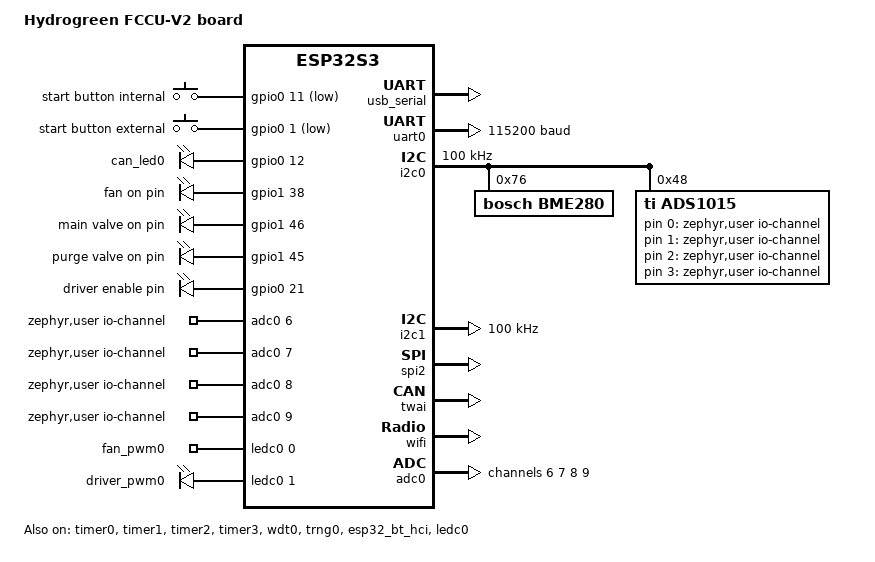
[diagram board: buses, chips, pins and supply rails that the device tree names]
/dts-v1/;

#include <espressif/esp32s3/esp32s3_wroom_n8.dtsi>
#include "fccu_v2-pinctrl.dtsi"
#include <zephyr/dt-bindings/input/input-event-codes.h>
#include <espressif/partitions_0x0_amp.dtsi>


/ {
	model = "Hydrogreen FCCU-V2 board";
	compatible = "hydrogreen,fccu_v2";

	aliases {
		i2c-0 = &i2c0;
		watchdog0 = &wdt0;
		uart-0 = &uart0;
		button-start = &button_start0;
		button-start-external = &button_start1;
		can = &twai;
		fan-pin = &fan0;
		fan-pwm = &fan_pwm0;
		main-valve-pin = &main_valve0;
		purge-valve-pin = &purge_valve0;
		adc-1 = &adc0;
		can-led = &can_led0;
		counter0 = &counter0;
		counter1 = &counter1;
		counter2 = &counter2;
		counter3 = &counter3;
		driver-enable = &driver_enable0;
		driver-pwm = &driver_pwm0;
	};

	chosen {
		zephyr,sram = &sram1;
		zephyr,console = &uart0;
		zephyr,shell-uart = &uart0;
		zephyr,flash = &flash0;
		zephyr,code-partition = &slot0_partition;
		zephyr,bt-hci = &esp32_bt_hci;
		zephyr,canbus = &twai;
	};

	buttons {
		compatible = "gpio-keys";
		debounce-interval-ms = <100>;
		
		button_start0: button_start_0 {
			gpios = <&gpio0 11 (GPIO_ACTIVE_LOW)>;
			label = "start button internal";
			zephyr,code = <INPUT_KEY_0>;
		};
		button_start1: button_start_1 {
			gpios = <&gpio0 1 (GPIO_ACTIVE_LOW | GPIO_PULL_UP)>;
			label = "start button external";
			zephyr,code = <INPUT_KEY_0>;
		};
	};

	can_status_led{
		compatible = "gpio-leds";
		can_led0:can_led_0{
			gpios = <&gpio0 12 GPIO_ACTIVE_HIGH>;
		};
	};
	fan_on{
		compatible = "gpio-leds";
		fan0:fan_0{
			label = "fan on pin";
			gpios = <&gpio1 38 GPIO_ACTIVE_HIGH>;
		};
	};
	main_valve_on{
		compatible = "gpio-leds";
		main_valve0:main_valve_0{
			label = "main valve on pin";
			gpios = <&gpio1 46 GPIO_ACTIVE_HIGH>;
		};
	};

	purge_valve_on{
		compatible = "gpio-leds";
		purge_valve0:purge_valve_0{
			label = "purge valve on pin";
			gpios = <&gpio1 45 GPIO_ACTIVE_HIGH>;
		};
	};

	driver_enable{
		compatible = "gpio-leds";
		driver_enable0:driver_enable_0{
			label = "driver enable pin";
			gpios = <&gpio0 21 GPIO_ACTIVE_HIGH>;
		};
	};


	zephyr,user {
		io-channels = <&adc0 6>, <&adc0 7>, <&adc0 8>, <&adc0 9>, <&ads1015 0>, <&ads1015 1>, <&ads1015 2>,<&ads1015 3>;
	};

	pwm_leds{
		compatible = "pwm-leds";
		fan_pwm0:pwm_pwm_0{
			pwms = <&ledc0 0 40000 0>;
		};
		driver_pwm0:driver_pwm_0{
			pwms = <&ledc0 1 40000 0>;
		};
	};

};

&usb_serial {
	status = "okay";
};

&uart0 {
	status = "okay";
	current-speed = <115200>;
	pinctrl-0 = <&uart0_default>;
	pinctrl-names = "default";
};

&gpio0 {
	status = "okay";
};

&gpio1 {
	status = "okay";
};

&i2c0 {
	clock-frequency = <I2C_BITRATE_STANDARD>;
	pinctrl-0 = <&i2c0_default>;
	pinctrl-names = "default";
	status = "okay";


	bme280@76 {
		compatible = "bosch,bme280";
		reg = <0x76>;
		status = "okay";
	};

	ads1015:ads1015@48 {
		compatible = "ti,ads1015";
		reg = <0x48>;
		label = "ADS1015";
		#io-channel-cells = <1>;
		#address-cells = <1>;
		#size-cells = <0>;
		status = "okay";
	};
};

&i2c1 {
	clock-frequency = <I2C_BITRATE_STANDARD>;
	pinctrl-0 = <&i2c1_default>;
	pinctrl-names = "default";
};

&i2s0 {
	pinctrl-0 = <&i2s0_default>;
	pinctrl-names = "default";
	status = "disabled";
};

&i2s1 {
	pinctrl-0 = <&i2s1_default>;
	pinctrl-names = "default";
	status = "disabled";
};

&spi2 {
	#address-cells = <1>;
	#size-cells = <0>;
	status = "okay";
	pinctrl-0 = <&spim2_default>;
	pinctrl-names = "default";
};

&twai {
	pinctrl-0 = <&twai_default>;
	pinctrl-names = "default";
	status = "okay";
//	bus-speed = <500000>;
};

&timer0 {
	status = "okay";
	counter0:counter {
		status = "okay";
	};
};

&timer1 {
	status = "okay";
	counter1:counter {
		status = "okay";
	};
};

&timer2 {
	status = "okay";
	counter2:counter {
		status = "okay";
	};
};

&timer3 {
	status = "okay";
	counter3:counter {
		status = "okay";
	};
};

&wdt0 {
	status = "okay";
};

&trng0 {
	status = "okay";
};

&esp32_bt_hci {
	status = "okay";
};

&wifi {
	status = "okay";
};

&adc0{
	status = "okay";
	unit = <1>;
	#io-channel-cells = <1>;
	#address-cells = <1>;
	#size-cells = <0>;
	channel-count = <10>;

	channel@6 {
		reg = <6>;
		zephyr,gain = "ADC_GAIN_1_4";
		zephyr,reference = "ADC_REF_INTERNAL";
		zephyr,acquisition-time = <ADC_ACQ_TIME_DEFAULT>;
		zephyr,resolution = <12>;
	};
	channel@7 {
		reg = <7>;
		zephyr,gain = "ADC_GAIN_1_4";
		zephyr,reference = "ADC_REF_INTERNAL";
		zephyr,acquisition-time = <ADC_ACQ_TIME_DEFAULT>;
		zephyr,resolution = <12>;
	};
	channel@8 {
		reg = <8>;
		zephyr,gain = "ADC_GAIN_1_4";
		zephyr,reference = "ADC_REF_INTERNAL";
		zephyr,acquisition-time = <ADC_ACQ_TIME_DEFAULT>;
		zephyr,resolution = <12>;
	};
	channel@9 {
		reg = <9>;
		zephyr,gain = "ADC_GAIN_1_4";
		zephyr,reference = "ADC_REF_INTERNAL";
		zephyr,acquisition-time = <ADC_ACQ_TIME_DEFAULT>;
		zephyr,resolution = <12>;
	};
};

//&adc1 {
//	status = "okay";
//	unit = <2>;
//	channel-count = <1>;
//	#io-channel-cells = <1>;
//	#address-cells = <1>;
//	#size-cells = <0>;
//	channel-count = <1>;
//
//	channel@9 {
//		reg = <9>;
//		zephyr,gain = "ADC_GAIN_1";
//		zephyr,reference = "ADC_REF_INTERNAL";
//		zephyr,acquisition-time = <ADC_ACQ_TIME_DEFAULT>;
//		zephyr,resolution = <12>;
//	};
//};
//&mcpwm0 {
//	pinctrl-0 = <&mcpwm0_default>;
//	pinctrl-names = "default";
//	prescale = <255>;
//	prescale-timer0 = <24>;
////	prescale-timer1 = <0>;
////	prescale-timer2 = <255>;
//	status = "okay";
//};

&ledc0{
	status = "okay";
	pinctrl-0 = <&ledc0_default>;
	pinctrl-names = "default";
	#address-cells = <1>;
	#size-cells = <0>;
	channel@0{
		reg = <0x0>;
		timer = <0>;
	};
	channel@1{
		reg = <0x1>;
		timer = <1>;
	};
};

